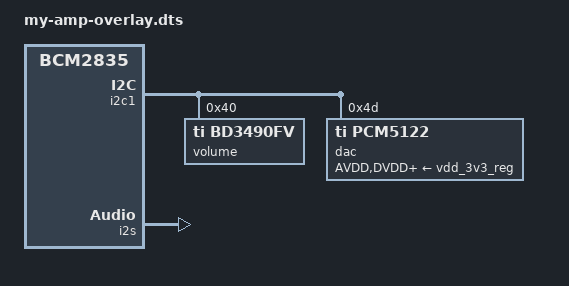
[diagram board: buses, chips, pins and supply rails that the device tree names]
/dts-v1/;
/plugin/;

/ {
    compatible = "brcm,bcm2835";

    fragment@0 {
        target = <&i2c1>;
        __overlay__ {
            #address-cells = <1>;
            #size-cells = <0>;
			status = "okay";

            volume: bd3490fv@40 {
                compatible = "ti,bd3490fv";
                reg = <0x40>;
                status = "okay";
                sound-name-prefix = "vol";
            };

			// https://github.com/raspberrypi/linux/blob/rpi-5.10.y/sound/soc/codecs/pcm512x.h
			// https://github.com/raspberrypi/linux/blob/rpi-5.10.y/sound/soc/codecs/pcm512x.c
            dac: pcm5122@4d {
				#sound-dai-cells = <0>;
				compatible = "ti,pcm5122";
				reg = <0x4d>;
				AVDD-supply = <&vdd_3v3_reg>;
				DVDD-supply = <&vdd_3v3_reg>;
				CPVDD-supply = <&vdd_3v3_reg>;
				status = "okay";
                sound-name-prefix = "dac";
			};
        };
    };

    fragment@1 {
        target = <&i2s>;
        __overlay__ {
            status = "okay";
        };
    };

    // https://www.kernel.org/doc/Documentation/devicetree/bindings/pinctrl/brcm,bcm2835-gpio.txt
    fragment@2 {
        target = <&gpio>;
        __overlay__ {
            amp_gpio: amp_gpio {
                // !amp_enable !amp_mute !amp_error !amp_clip
                brcm,pins = <4 17 22 27>;
                // pullup, pulldown, pullup, pullup
                brcm,pull = <2 1 2 2>;
                // out, out, in, in
                brcm,function = <1 1 0 0>;
            };
        };
    };

    fragment@3 {
        target = <&sound>;
        __overlay__ {
            compatible = "simple-audio-card";
            i2s_controller = <&i2s>;
            status = "okay";

            simple-audio-card,name = "cw-audio-card";
            simple-audio-card,format = "i2s";
            simple-audio-card,bitclock-master = <&dailink0_master>;
            simple-audio-card,frame-master = <&dailink0_master>;

            simple-audio-card,aux-devs = <&volume>;

            simple-audio-card,widgets =
                "Line", "Aux Jack",
                "Speaker", "External Speaker";
            simple-audio-card,routing =
                "vol AUXINL", "Aux Jack",
                "vol AUXINR", "Aux Jack",
                "vol DACINL", "dac OUTL",
                "vol DACINR", "dac OUTR",
                "External Speaker", "vol MUXOUTL",
                "External Speaker", "vol MUXOUTR";

            pinctrl-names = "default";
            pinctrl-0 = <&amp_gpio>;

            dailink0_master: simple-audio-card,cpu {
                sound-dai = <&i2s>;
            };
            simple-audio-card,codec {
                sound-dai = <&dac>;
            };
        };
    };
};
